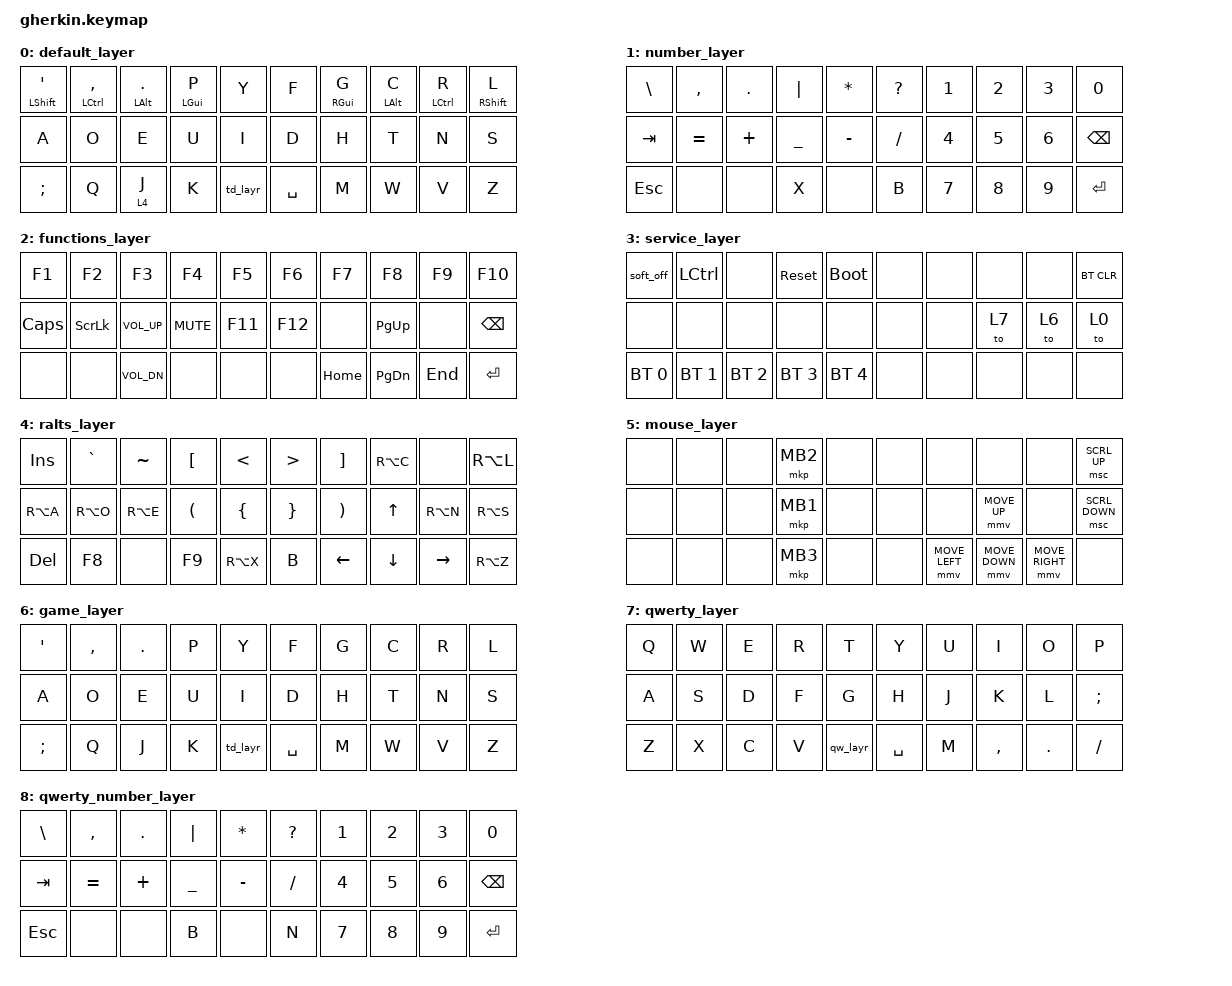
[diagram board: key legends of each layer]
/*
 * Copyright (c) 2025 pickme467
 *
 * SPDX-License-Identifier: MIT
 */

#include <behaviors.dtsi>
#include <dt-bindings/zmk/keys.h>
#include <dt-bindings/zmk/bt.h>
#include <dt-bindings/zmk/pointing.h>

&soft_off {
        hold-time-ms = <200>;
};

&mt {
        tapping-term-ms = <247>;
};

/ {
        macros {
                lm: lm {
                   compatible = "zmk,behavior-macro-two-param";
                   wait-ms = <0>;
                   tap-ms = <0>;
                   #binding-cells = <2>;
                   bindings
                       = <&macro_param_1to1>
                       , <&macro_press &mo MACRO_PLACEHOLDER>
                       , <&macro_param_2to1>
                       , <&macro_press &kp MACRO_PLACEHOLDER>
                       , <&macro_pause_for_release>
                       , <&macro_param_2to1>
                       , <&macro_release &kp MACRO_PLACEHOLDER>
                       , <&macro_param_1to1>
                       , <&macro_release &mo MACRO_PLACEHOLDER>
                       ;
               };
        };

        behaviors {
                td_layr: tap_dance_0 {
                   compatible = "zmk,behavior-tap-dance";
                   #binding-cells = <0>;
                   tapping-term-ms = <275>;
                   bindings = <&mo 1>, <&mo 2>, <&mo 3>, <&mo 5>;
                };
                qw_layr: tap_dance_1 {
                   compatible = "zmk,behavior-tap-dance";
                   #binding-cells = <0>;
                   tapping-term-ms = <275>;
                   bindings = <&mo 8>, <&mo 2>, <&mo 3>, <&mo 5>;
                };
        };

        keymap {
                compatible = "zmk,keymap";

                default_layer {
                        bindings = <
   &mt LSHFT SQT &mt LCTL COMMA &mt LALT DOT &mt LGUI P &kp Y    &kp F     &mt RGUI G &mt LALT C &mt LCTL R &mt RSHFT L
   &kp A         &kp O          &kp E        &kp U      &kp I    &kp D     &kp H      &kp T      &kp N      &kp S
   &kp SEMI      &kp Q          &lt 4 J      &kp K      &td_layr &kp SPACE &kp M      &kp W      &kp V      &kp Z
                        >;
                };

                number_layer {
                        bindings = <
   &kp BSLH &kp COMMA &kp DOT  &kp PIPE  &kp ASTRK &kp QMARK &kp N1    &kp N2 &kp N3 &kp N0
   &kp TAB  &kp EQUAL &kp PLUS &kp UNDER &kp MINUS &kp SLASH &kp N4    &kp N5 &kp N6 &kp BSPC
   &kp ESC  &none     &none    &kp X     &none     &kp B     &kp N7    &kp N8 &kp N9 &kp RET
                        >;
                };

                functions_layer {
                        bindings = <
   &kp F1   &kp F2   &kp F3       &kp F4     &kp F5        &kp F6   &kp F7    &kp F8    &kp F9  &kp F10
   &kp CAPS &kp SLCK &kp C_VOL_UP &kp C_MUTE &kp F11       &kp F12  &none     &kp PG_UP &none   &kp BSPC
   &none    &none    &kp C_VOL_DN &none      &none         &none    &kp HOME  &kp PG_DN &kp END &kp RET
                        >;
                };

                service_layer {
                        bindings = <
   &soft_off    &kp LCTL     &none        &sys_reset   &bootloader    &none &none &none  &none  &bt BT_CLR
   &none        &none        &none        &none        &none          &none &none &to 7  &to 6  &to 0
   &bt BT_SEL 0 &bt BT_SEL 1 &bt BT_SEL 2 &bt BT_SEL 3 &bt BT_SEL 4   &none &none &none  &none  &none
                        >;
                };

                ralts_layer {
                        bindings = <
   &kp INS   &kp GRAVE &kp TILDE &kp LBKT &kp LT      &kp GT   &kp RBKT  &kp RA(C) &none     &kp RA(L)
   &kp RA(A) &kp RA(O) &kp RA(E) &kp LPAR &kp LBRC    &kp RBRC &kp RPAR  &kp UP    &kp RA(N) &kp RA(S)
   &kp DEL   &kp F8    &none     &kp F9   &kp RA(X)   &kp B    &kp LEFT  &kp DOWN  &kp RIGHT &kp RA(Z)
                        >;
                };

                mouse_layer {
                        bindings = <
   &none &none &none &mkp MB2 &none &none &none          &none          &none           &msc SCRL_UP
   &none &none &none &mkp MB1 &none &none &none          &mmv MOVE_UP   &none           &msc SCRL_DOWN
   &none &none &none &mkp MB3 &none &none &mmv MOVE_LEFT &mmv MOVE_DOWN &mmv MOVE_RIGHT &none
                        >;
                };

                game_layer {
                        bindings = <
   &kp SQT  &kp COMMA &kp DOT &kp P &kp Y    &kp F     &kp G &kp C &kp R &kp L
   &kp A    &kp O     &kp E   &kp U &kp I    &kp D     &kp H &kp T &kp N &kp S
   &kp SEMI &kp Q     &kp J   &kp K &td_layr &kp SPACE &kp M &kp W &kp V &kp Z
                        >;
                };

                qwerty_layer {
                        bindings = <
   &kp Q    &kp W     &kp E   &kp R &kp T    &kp Y     &kp U &kp I     &kp O   &kp P
   &kp A    &kp S     &kp D   &kp F &kp G    &kp H     &kp J &kp K     &kp L   &kp SEMI
   &kp Z    &kp X     &kp C   &kp V &qw_layr &kp SPACE &kp M &kp COMMA &kp DOT &kp SLASH
                        >;
                };

                qwerty_number_layer {
                        bindings = <
   &kp BSLH &kp COMMA &kp DOT  &kp PIPE  &kp ASTRK &kp QMARK &kp N1    &kp N2 &kp N3 &kp N0
   &kp TAB  &kp EQUAL &kp PLUS &kp UNDER &kp MINUS &kp SLASH &kp N4    &kp N5 &kp N6 &kp BSPC
   &kp ESC  &none     &none    &kp B     &none     &kp N     &kp N7    &kp N8 &kp N9 &kp RET
                        >;
                };
        };
};
